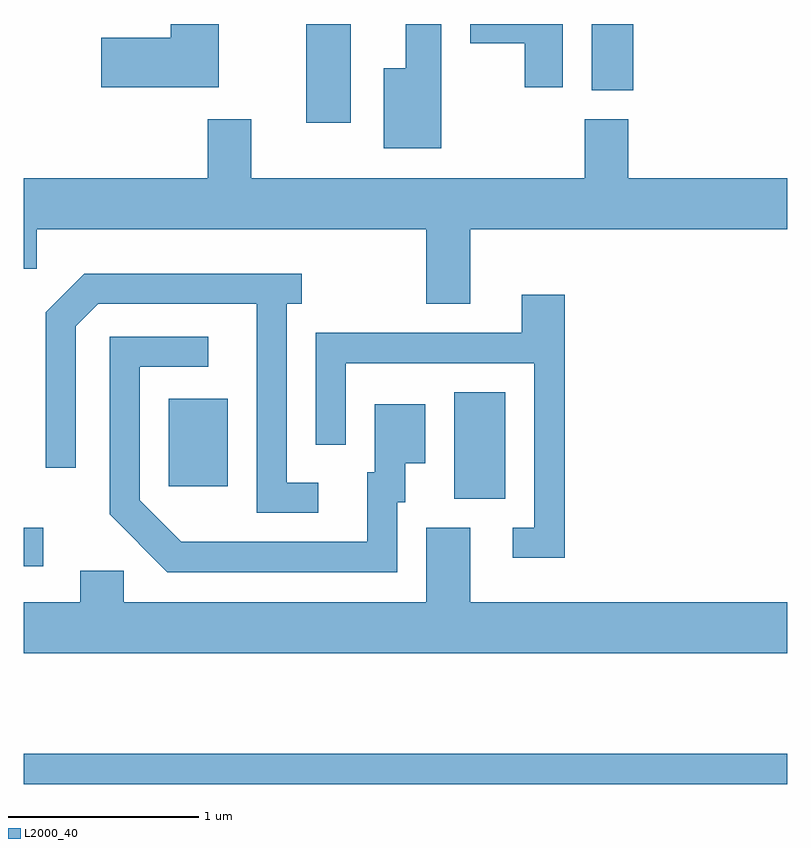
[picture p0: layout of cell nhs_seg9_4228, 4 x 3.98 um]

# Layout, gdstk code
import gdstk
lib = gdstk.Library(unit=1e-6, precision=1e-09)
def R(c, l, rs):  # rectangles x0, y0, x1, y1
    for r in rs: c.add(gdstk.rectangle(r[:2], r[2:], *l))
def P(c, l, *ps):  # polygons
    for p in ps: c.add(gdstk.Polygon(p, *l))
L2000_40 = (2000, 40)

nhs_seg9_4228 = lib.new_cell('nhs_seg9_4228')
R(nhs_seg9_4228, L2000_40, [(309.611,2004.451,313.611,2004.609), (309.611,2005.591,309.714,2005.794), (311.866,2005.946,312.134,2006.504), (310.371,2006.011,310.679,2006.469), (311.091,2007.916,311.324,2008.432), (312.586,2008.086,312.804,2008.432), (313.316,2008.431,313.611,2008.432)])
P(nhs_seg9_4228, L2000_40, [(311.799,2008.432),(311.611,2008.432),(311.611,2008.199),(311.496,2008.199),(311.496,2007.781),(311.799,2007.781)],
  [(310.634,2008.432),(310.381,2008.432),(310.381,2008.359),(310.016,2008.359),(310.016,2008.101),(310.634,2008.101)],
  [(312.434,2008.432),(311.951,2008.432),(311.951,2008.331),(312.236,2008.331),(312.236,2008.101),(312.434,2008.101)],
  [(311.949,2007.356),(313.611,2007.356),(313.611,2007.624),(312.779,2007.624),(312.779,2007.934),(312.551,2007.934),(312.551,2007.624),(310.804,2007.624),(310.804,2007.934),(310.576,2007.934),(310.576,2007.624),(309.611,2007.624),(309.611,2007.151),(309.679,2007.151),(309.679,2007.356),(311.721,2007.356),(311.721,2006.966),(311.949,2006.966)],
  [(311.153,2006.029),(310.989,2006.029),(310.989,2006.966),(311.068,2006.966),(311.068,2007.124),(309.929,2007.124),(309.726,2006.922),(309.726,2006.108),(309.884,2006.108),(309.884,2006.849),(310.002,2006.966),(310.831,2006.966),(310.831,2005.871),(311.153,2005.871)],
  [(312.444,2007.014),(312.221,2007.014),(312.221,2006.814),(311.141,2006.814),(311.141,2006.228),(311.299,2006.228),(311.299,2006.656),(312.286,2006.656),(312.286,2005.794),(312.173,2005.794),(312.173,2005.636),(312.444,2005.636)],
  [(311.569,2005.926),(311.609,2005.926),(311.609,2006.131),(311.714,2006.131),(311.714,2006.439),(311.451,2006.439),(311.451,2006.084),(311.411,2006.084),(311.411,2005.719),(310.437,2005.719),(310.219,2005.937),(310.219,2006.636),(310.578,2006.636),(310.578,2006.794),(310.061,2006.794),(310.061,2005.864),(310.364,2005.561),(311.569,2005.561)],
  [(313.611,2005.404),(311.949,2005.404),(311.949,2005.794),(311.721,2005.794),(311.721,2005.404),(310.134,2005.404),(310.134,2005.569),(309.906,2005.569),(309.906,2005.404),(309.611,2005.404),(309.611,2005.136),(313.611,2005.136)])

lib.write_gds('nhs_seg9_4228.gds')
